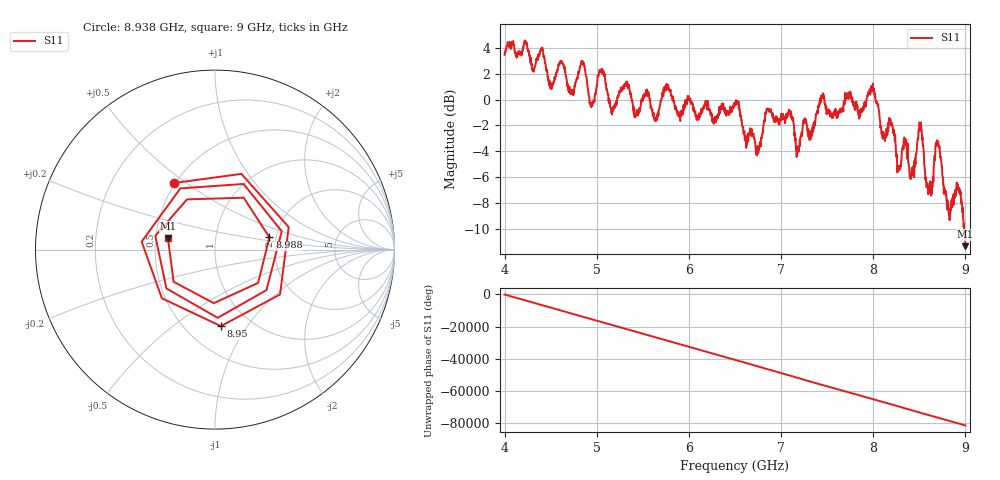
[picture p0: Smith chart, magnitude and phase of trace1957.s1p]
! Created with skrf 1.8.0 (http://scikit-rf.org).
# Hz S RI R 50.0
!freq ReS11 ImS11
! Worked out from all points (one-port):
!   1601 points, 4 GHz to 9 GHz, reference 50 ohm
!   lowest |S11| = -11.4 dB at 9 GHz (marker M1), VSWR 1.74, Z = 29 + j4.05 ohm
!   |S11| at or under -10 dB: 8.986847 GHz to end of sweep
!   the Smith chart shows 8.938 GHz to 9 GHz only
!   S11 on the Smith chart (normalised r, x): 8.938 GHz: 0.49, +0.45; 8.95 GHz: 0.73, -0.76; 8.988 GHz: 1.84, +0.28; 9 GHz: 0.58, +0.08
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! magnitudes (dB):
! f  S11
! 4 GHz  3.5
! 4.625 GHz  2.9
! 4.725 GHz  0.6
! 4.85 GHz  2.8
! 4.947 GHz  -0.3
! 5.05 GHz  2.3
! 5.159 GHz  -1.0
! 5.25 GHz  0.6
! 5.875 GHz  -0.9
! 6.5 GHz  -0.4
! 6.741 GHz  -3.8
! 6.856 GHz  -0.8
! 7.125 GHz  -1.4
! 7.184 GHz  -3.8
! 7.444 GHz  0.2
! 7.75 GHz  0.6
! 7.997 GHz  1.2
! 8.275 GHz  -5.5
! 8.375 GHz  -3.8
! 8.419 GHz  -5.3
! 8.509 GHz  -2.0
! 8.603 GHz  -7.2
! 8.7 GHz  -3.2
! 8.819 GHz  -8.8
! 8.938 GHz  -7.2
! 8.95 GHz  -7.4
! 8.988 GHz  -10.2
! 9 GHz  -11.4
